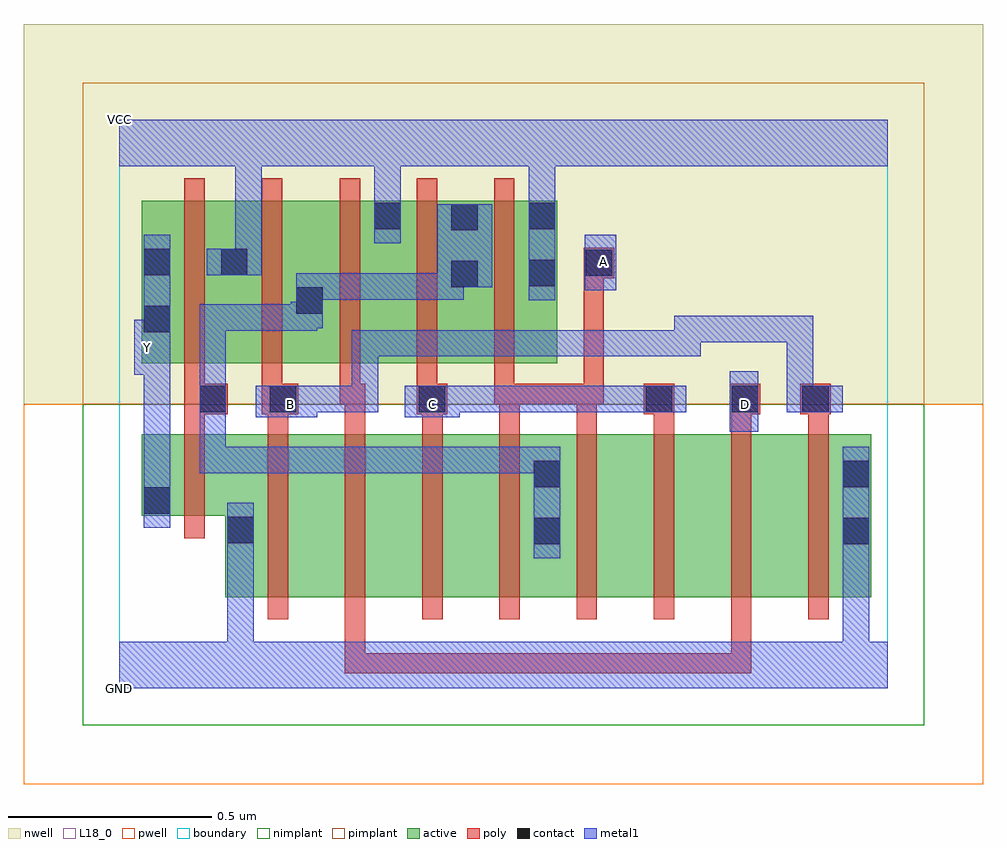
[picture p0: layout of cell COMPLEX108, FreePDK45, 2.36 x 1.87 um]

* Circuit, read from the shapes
.subckt COMPLEX108 A B C D GND VCC Y
M1 GND n1 Y VSUBS nfet w=0.2u l=0.05u
M2 n2 B GND VSUBS nfet w=0.4u l=0.05u
M3 n3 D n2 VSUBS nfet w=0.4u l=0.05u
M4 n4 C n3 VSUBS nfet w=0.4u l=0.05u
M5 n1 A n4 VSUBS nfet w=0.4u l=0.05u
M6 n5 A n1 VSUBS nfet w=0.4u l=0.05u
M7 n6 C n5 VSUBS nfet w=0.4u l=0.05u
M8 n7 D n6 VSUBS nfet w=0.4u l=0.05u
M9 GND B n7 VSUBS nfet w=0.4u l=0.05u
M10 VCC n1 Y n8 pfet w=0.4u l=0.05u
M11 n1 B VCC n8 pfet w=0.4u l=0.05u
M12 VCC D n1 n8 pfet w=0.4u l=0.05u
M13 n1 C VCC n8 pfet w=0.4u l=0.05u
M14 VCC A n1 n8 pfet w=0.4u l=0.05u
.ends

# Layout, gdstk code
import gdstk
lib = gdstk.Library(unit=1e-6, precision=1e-09)
def R(c, l, rs):  # rectangles x0, y0, x1, y1
    for r in rs: c.add(gdstk.rectangle(r[:2], r[2:], *l))
def A(c, l, x, y, w, h, nx, ny, dx, dy):  # array of equal rectangles
    R(c, l, [(x+i*dx, y+j*dy, x+i*dx+w, y+j*dy+h) for i in range(nx) for j in range(ny)])
active = (1, 0)
pwell = (2, 0)
nwell = (3, 0)
nimplant = (4, 0)
pimplant = (5, 0)
poly = (9, 0)
contact = (10, 0)
metal1 = (11, 0)
L18_0 = (18, 0)
boundary = (235, 0)

complex108 = lib.new_cell('COMPLEX108')
R(complex108, active, [(0.26,0.225,0.485,0.625), (0.26,0.225,0.335,0.597), (0.485,0.225,0.675,0.625), (0.675,0.225,0.865,0.625), (0.865,0.225,1.09,0.625), (1.015,0.225,1.245,0.625), (1.245,0.225,1.435,0.625), (1.435,0.225,1.625,0.625), (1.625,0.225,1.85,0.625), (1.775,0.225,1.85,0.625), (1.015,0.245,1.09,0.617), (0.055,0.425,0.335,0.625), (0.055,0.425,0.13,0.625), (0.055,0.8,0.13,1.2), (0.055,0.8,0.32,1.2), (0.245,0.8,0.505,1.2), (0.43,0.8,0.697,1.2), (0.622,0.8,0.887,1.2), (0.812,0.8,1.077,1.2), (1.002,0.8,1.077,1.2), (0.245,0.907,0.32,1.155), (0.43,0.907,0.505,1.155), (0.622,0.907,0.697,1.2), (0.812,0.907,0.887,1.2)])
R(complex108, pwell, [(-0.235,-0.235,2.125,0.7)])
R(complex108, nwell, [(-0.235,0.7,2.125,1.635)])
R(complex108, nimplant, [(-0.09,-0.09,1.98,0.7)])
R(complex108, pimplant, [(-0.09,0.7,1.98,1.49)])
A(complex108, poly, 0.365, 0.17, 0.05, 0.51, 8, 1, 0.19, 0)
A(complex108, poly, 1.315, 0.63, 0.05, 0.095, 3, 1, 0.19, 0)
A(complex108, poly, 0.542, 0.7, 0.05, 0.095, 3, 1, 0.19, 0)
A(complex108, poly, 0.542, 0.745, 0.05, 0.51, 3, 1, 0.19, 0)
R(complex108, poly, [(0.555,0.037,0.605,0.22), (0.555,0.037,0.605,0.087), (0.555,0.037,0.605,0.087), (0.555,0.037,0.605,0.087), (0.555,0.037,0.737,0.087), (0.687,0.037,0.737,0.087), (0.687,0.037,0.737,0.087), (0.687,0.037,0.737,0.087), (0.687,0.037,0.87,0.087), (0.82,0.037,0.87,0.087), (0.82,0.037,1.207,0.087), (1.157,0.037,1.207,0.087), (1.157,0.037,1.207,0.087), (1.157,0.037,1.207,0.087), (1.157,0.037,1.42,0.087), (1.37,0.037,1.42,0.087), (1.37,0.037,1.42,0.087), (1.37,0.037,1.42,0.087), (1.37,0.037,1.555,0.087), (1.505,0.037,1.555,0.22), (1.505,0.037,1.555,0.087), (1.505,0.037,1.555,0.087), (1.505,0.037,1.555,0.087), (0.16,0.37,0.21,0.68), (0.16,0.63,0.21,0.725), (0.365,0.63,0.415,0.725), (0.555,0.63,0.605,0.75), (0.745,0.63,0.795,0.725), (0.935,0.63,0.985,0.75), (1.125,0.63,1.175,0.75), (0.16,0.675,0.267,0.75), (0.35,0.675,0.44,0.75), (0.732,0.675,0.807,0.75), (1.29,0.675,1.365,0.75), (1.502,0.675,1.577,0.75), (1.675,0.675,1.75,0.75), (0.16,0.7,0.21,0.795), (0.35,0.7,0.4,0.795), (0.542,0.7,0.605,0.75), (0.922,0.7,0.985,0.75), (0.935,0.7,1.175,0.75), (1.125,0.7,1.175,0.75), (1.125,0.7,1.175,0.75), (1.125,0.7,1.192,0.75), (1.142,0.7,1.192,1.06), (0.16,0.745,0.21,1.255), (0.35,0.745,0.4,1.255), (1.142,1.01,1.217,1.085), (1.142,1.01,1.192,1.06), (1.142,1.01,1.192,1.06)])
R(complex108, contact, [(1.02,0.355,1.085,0.42), (1.78,0.355,1.845,0.42), (0.265,0.357,0.33,0.422), (0.06,0.43,0.125,0.495), (1.02,0.495,1.085,0.56), (1.78,0.495,1.845,0.56), (0.197,0.68,0.262,0.745), (0.37,0.68,0.435,0.745), (0.737,0.68,0.802,0.745), (1.295,0.68,1.36,0.745), (1.507,0.68,1.572,0.745), (1.68,0.68,1.745,0.745), (0.06,0.877,0.125,0.942), (0.435,0.922,0.5,0.987), (0.817,0.987,0.882,1.052), (1.007,0.99,1.072,1.055), (1.147,1.015,1.212,1.08), (0.06,1.017,0.125,1.082), (0.25,1.017,0.315,1.082), (0.817,1.127,0.882,1.192), (0.627,1.13,0.692,1.195), (1.007,1.13,1.072,1.195)])
R(complex108, metal1, [(0,0,1.89,0.115), (0.265,0.05,0.33,0.387), (1.78,0.05,1.845,0.385), (1.78,0.05,1.845,0.115), (1.78,0.05,1.845,0.115), (1.02,0.32,1.085,0.595), (1.78,0.32,1.845,0.595), (0.265,0.322,0.33,0.387), (0.265,0.322,0.33,0.387), (0.265,0.322,0.33,0.457), (0.06,0.395,0.125,0.53), (0.06,0.465,0.125,0.837), (0.197,0.53,0.262,0.595), (0.197,0.53,0.4,0.595), (0.197,0.53,0.262,0.78), (0.335,0.53,0.4,0.595), (0.335,0.53,0.4,0.595), (0.335,0.53,0.4,0.595), (0.335,0.53,0.625,0.595), (0.56,0.53,0.625,0.595), (0.56,0.53,0.7,0.595), (0.635,0.53,0.7,0.595), (0.635,0.53,0.837,0.595), (0.772,0.53,0.837,0.595), (0.772,0.53,0.837,0.595), (0.772,0.53,0.837,0.595), (0.772,0.53,1.05,0.595), (0.985,0.53,1.05,0.595), (0.985,0.53,1.085,0.595), (1.502,0.632,1.572,0.78), (0.197,0.645,0.262,0.78), (0.335,0.667,0.487,0.745), (0.702,0.667,0.837,0.745), (0.422,0.68,0.487,0.745), (0.422,0.68,0.487,0.745), (0.422,0.68,0.63,0.745), (0.565,0.68,0.63,0.745), (0.565,0.68,0.637,0.745), (0.572,0.68,0.637,0.745), (0.572,0.68,0.637,0.882), (0.772,0.68,0.837,0.745), (0.772,0.68,0.837,0.745), (0.772,0.68,1.05,0.745), (0.985,0.68,1.05,0.745), (0.985,0.68,1.187,0.745), (1.122,0.68,1.187,0.745), (1.122,0.68,1.187,0.745), (1.122,0.68,1.187,0.745), (1.122,0.68,1.325,0.745), (1.26,0.68,1.325,0.745), (1.26,0.68,1.325,0.745), (1.26,0.68,1.395,0.745), (1.642,0.68,1.707,0.745), (1.642,0.68,1.71,0.745), (1.642,0.68,1.707,0.917), (1.645,0.68,1.78,0.745), (0.197,0.715,0.262,0.78), (0.197,0.715,0.262,0.78), (0.197,0.715,0.262,0.945), (0.037,0.772,0.125,0.907), (0.572,0.817,0.637,0.882), (0.572,0.817,0.837,0.882), (0.772,0.817,0.837,0.882), (0.772,0.817,0.837,0.882), (0.772,0.817,0.837,0.882), (0.772,0.817,1.05,0.882), (0.985,0.817,1.05,0.882), (0.985,0.817,1.05,0.882), (0.985,0.817,1.05,0.882), (0.985,0.817,1.187,0.882), (1.122,0.817,1.187,0.882), (1.122,0.817,1.43,0.882), (1.365,0.817,1.43,0.882), (1.365,0.817,1.43,0.882), (1.365,0.817,1.43,0.917), (0.06,0.842,0.125,1.117), (0.06,0.842,0.125,0.907), (1.365,0.852,1.567,0.917), (1.502,0.852,1.567,0.917), (1.502,0.852,1.567,0.917), (1.502,0.852,1.567,0.917), (1.502,0.852,1.707,0.917), (1.642,0.852,1.707,0.917), (0.197,0.88,0.262,0.945), (0.197,0.88,0.487,0.945), (0.422,0.88,0.487,0.952), (0.422,0.887,0.5,0.952), (0.435,0.887,0.5,1.022), (1.007,0.955,1.072,1.23), (0.435,0.957,0.5,1.022), (0.435,0.957,0.5,1.022), (0.435,0.957,0.625,1.022), (0.56,0.957,0.625,1.022), (0.56,0.957,0.7,1.022), (0.635,0.957,0.7,1.022), (0.635,0.957,0.847,1.022), (0.782,0.957,0.847,1.052), (1.145,0.98,1.222,1.117), (0.782,0.987,0.847,1.052), (0.782,0.987,0.917,1.192), (0.215,1.017,0.35,1.082), (0.285,1.017,0.35,1.35), (0.627,1.095,0.692,1.23), (0.627,1.165,0.692,1.35), (1.007,1.165,1.072,1.35), (0,1.285,1.89,1.4)])
R(complex108, L18_0, [(0,0,1.89,0.115), (0.265,0.05,0.33,0.387), (1.78,0.05,1.845,0.115), (1.78,0.05,1.845,0.115), (1.78,0.05,1.845,0.385), (1.78,0.32,1.845,0.595), (0.265,0.322,0.33,0.457), (0.265,0.322,0.33,0.387), (0.265,0.322,0.33,0.387), (0.06,0.395,0.125,0.53), (0.06,0.465,0.125,0.837), (1.502,0.632,1.572,0.78), (0.335,0.667,0.487,0.745), (0.387,0.667,0.452,0.732), (0.702,0.667,0.837,0.745), (0.737,0.667,0.802,0.732), (1.507,0.667,1.572,0.732), (0.422,0.68,0.487,0.745), (0.422,0.68,0.487,0.745), (0.422,0.68,0.63,0.745), (0.565,0.68,0.63,0.745), (0.565,0.68,0.637,0.745), (0.572,0.68,0.637,0.745), (0.572,0.68,0.637,0.882), (0.772,0.68,0.837,0.745), (0.772,0.68,0.837,0.745), (0.772,0.68,1.05,0.745), (0.985,0.68,1.05,0.745), (0.985,0.68,1.187,0.745), (1.122,0.68,1.187,0.745), (1.122,0.68,1.187,0.745), (1.122,0.68,1.187,0.745), (1.122,0.68,1.325,0.745), (1.26,0.68,1.325,0.745), (1.26,0.68,1.325,0.745), (1.26,0.68,1.395,0.745), (1.642,0.68,1.707,0.745), (1.642,0.68,1.707,0.917), (1.642,0.68,1.71,0.745), (1.645,0.68,1.78,0.745), (0.037,0.772,0.125,0.907), (0.037,0.807,0.102,0.872), (0.572,0.817,0.637,0.882), (0.572,0.817,0.837,0.882), (0.772,0.817,0.837,0.882), (0.772,0.817,0.837,0.882), (0.772,0.817,0.837,0.882), (0.772,0.817,1.05,0.882), (0.985,0.817,1.05,0.882), (0.985,0.817,1.05,0.882), (0.985,0.817,1.05,0.882), (0.985,0.817,1.187,0.882), (1.122,0.817,1.187,0.882), (1.122,0.817,1.43,0.882), (1.365,0.817,1.43,0.882), (1.365,0.817,1.43,0.882), (1.365,0.817,1.43,0.917), (0.06,0.842,0.125,1.117), (0.06,0.842,0.125,0.907), (1.365,0.852,1.567,0.917), (1.502,0.852,1.567,0.917), (1.502,0.852,1.567,0.917), (1.502,0.852,1.567,0.917), (1.502,0.852,1.707,0.917), (1.642,0.852,1.707,0.917), (1.007,0.955,1.072,1.23), (1.145,0.98,1.222,1.117), (0.215,1.017,0.35,1.082), (0.285,1.017,0.35,1.35), (1.157,1.017,1.222,1.082), (0.627,1.095,0.692,1.23), (0.627,1.165,0.692,1.35), (1.007,1.165,1.072,1.35), (0,1.285,1.89,1.4)])
R(complex108, boundary, [(0,0,1.89,1.4)])
complex108.add(gdstk.Label('A', (1.19,1.05), layer=11, texttype=0))
complex108.add(gdstk.Label('B', (0.42,0.7), layer=11, texttype=0))
complex108.add(gdstk.Label('C', (0.77,0.7), layer=11, texttype=0))
complex108.add(gdstk.Label('D', (1.54,0.7), layer=11, texttype=0))
complex108.add(gdstk.Label('Y', (0.07,0.84), layer=11, texttype=0))
complex108.add(gdstk.Label('VCC', (0,1.4), layer=11, texttype=0))
complex108.add(gdstk.Label('GND', (0,0), layer=11, texttype=0))

lib.write_gds('COMPLEX108.gds')
